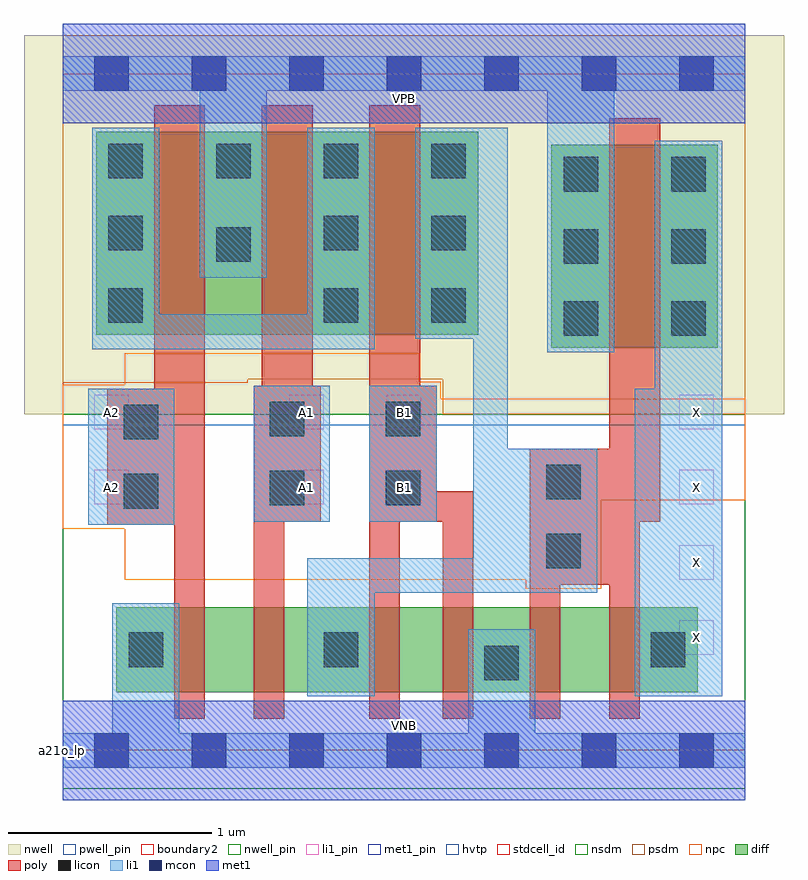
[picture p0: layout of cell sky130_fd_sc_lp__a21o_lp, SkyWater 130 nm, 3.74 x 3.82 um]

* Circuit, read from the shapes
.subckt sky130_fd_sc_lp__a21o_lp A1 A2 B1 VGND VNB VPB VPWR X
XM1 n1 A2 VGND VNB sky130_fd_pr__nfet_01v8 w=0.42 l=0.15
XM2 n2 A1 n1 VNB sky130_fd_pr__nfet_01v8 w=0.42 l=0.15
XM3 n3 B1 n2 VNB sky130_fd_pr__nfet_01v8 w=0.42 l=0.15
XM4 VGND B1 n3 VNB sky130_fd_pr__nfet_01v8 w=0.42 l=0.15
XM5 n4 n2 VGND VNB sky130_fd_pr__nfet_01v8 w=0.42 l=0.15
XM6 X n2 n4 VNB sky130_fd_pr__nfet_01v8 w=0.42 l=0.15
XM7 VPWR A2 n5 VPB sky130_fd_pr__pfet_01v8_hvt w=1 l=0.25
XM8 n5 A1 VPWR VPB sky130_fd_pr__pfet_01v8_hvt w=1 l=0.25
XM9 n2 B1 n5 VPB sky130_fd_pr__pfet_01v8_hvt w=1 l=0.25
XM10 X n2 VPWR VPB sky130_fd_pr__pfet_01v8_hvt w=1 l=0.25
.ends

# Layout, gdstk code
import gdstk
lib = gdstk.Library(unit=1e-6, precision=1e-09)
def R(c, l, rs):  # rectangles x0, y0, x1, y1
    for r in rs: c.add(gdstk.rectangle(r[:2], r[2:], *l))
def A(c, l, x, y, w, h, nx, ny, dx, dy):  # array of equal rectangles
    R(c, l, [(x+i*dx, y+j*dy, x+i*dx+w, y+j*dy+h) for i in range(nx) for j in range(ny)])
def P(c, l, *ps):  # polygons
    for p in ps: c.add(gdstk.Polygon(p, *l))
nwell_pin = (64, 16)
nwell = (64, 20)
diff = (65, 20)
poly = (66, 20)
licon = (66, 44)
li1_pin = (67, 16)
li1 = (67, 20)
mcon = (67, 44)
met1_pin = (68, 16)
met1 = (68, 20)
hvtp = (78, 44)
stdcell_id = (81, 4)
nsdm = (93, 44)
psdm = (94, 20)
npc = (95, 20)
pwell_pin = (122, 16)
boundary2 = (236, 0)

sky130_fd_sc_lp__a21o_lp = lib.new_cell('sky130_fd_sc_lp__a21o_lp')
R(sky130_fd_sc_lp__a21o_lp, nwell_pin, [(0,3.085,3.36,3.33)])
R(sky130_fd_sc_lp__a21o_lp, nwell, [(-0.19,1.655,3.55,3.52)])
R(sky130_fd_sc_lp__a21o_lp, diff, [(0.265,0.285,3.125,0.705), (2.405,1.98,3.225,2.98), (0.165,2.045,2.045,3.045)])
P(sky130_fd_sc_lp__a21o_lp, poly, [(0.7,3.175),(0.45,3.175),(0.45,1.78),(0.22,1.78),(0.22,1.11),(0.55,1.11),(0.55,0.155),(0.7,0.155)],
  [(1.27,1.795),(1.23,1.795),(1.23,3.175),(0.98,3.175),(0.98,1.795),(0.94,1.795),(0.94,0.155),(1.09,0.155),(1.09,1.125),(1.27,1.125)],
  [(2.02,1.275),(1.84,1.275),(1.84,1.795),(1.76,1.795),(1.76,3.175),(1.51,3.175),(1.51,0.155),(1.66,0.155),(1.66,1.125),(1.87,1.125),(1.87,0.155),(2.02,0.155)],
  [(2.94,3.11),(2.69,3.11),(2.69,1.485),(2.3,1.485),(2.3,0.155),(2.45,0.155),(2.45,0.815),(2.69,0.815),(2.69,0.155),(2.84,0.155),(2.84,1.125),(2.94,1.125)])
A(sky130_fd_sc_lp__a21o_lp, licon, 2.465, 2.04, 0.17, 0.17, 1, 3, 0, 0.355)
A(sky130_fd_sc_lp__a21o_lp, licon, 2.995, 2.04, 0.17, 0.17, 1, 3, 0, 0.355)
A(sky130_fd_sc_lp__a21o_lp, licon, 0.225, 2.815, 0.17, 0.17, 4, 1, 0.53, 0)
R(sky130_fd_sc_lp__a21o_lp, licon, [(2.075,0.345,2.245,0.515), (0.325,0.41,0.495,0.58), (1.285,0.41,1.455,0.58), (2.895,0.41,3.065,0.58), (2.38,0.895,2.55,1.065), (0.3,1.19,0.47,1.36), (1.02,1.205,1.19,1.375), (1.59,1.205,1.76,1.375), (2.38,1.235,2.55,1.405), (0.3,1.53,0.47,1.7), (1.02,1.545,1.19,1.715), (1.59,1.545,1.76,1.715), (0.225,2.105,0.395,2.275), (1.285,2.105,1.455,2.275), (1.815,2.105,1.985,2.275), (0.755,2.405,0.925,2.575), (0.225,2.46,0.395,2.63), (1.285,2.46,1.455,2.63), (1.815,2.46,1.985,2.63)])
A(sky130_fd_sc_lp__a21o_lp, li1_pin, 3.035, 0.47, 0.17, 0.17, 1, 4, 0, 0.37)
R(sky130_fd_sc_lp__a21o_lp, li1_pin, [(0.155,1.21,0.325,1.38), (1.115,1.21,1.285,1.38), (1.595,1.21,1.765,1.38), (0.155,1.58,0.325,1.75), (1.115,1.58,1.285,1.75), (1.595,1.58,1.765,1.75)])
R(sky130_fd_sc_lp__a21o_lp, li1, [(0.125,1.11,0.55,1.78), (0.94,1.125,1.315,1.795), (1.51,1.125,1.84,1.795)])
P(sky130_fd_sc_lp__a21o_lp, li1, [(2.385,1.96),(2.385,3.245),(1.005,3.245),(1.005,2.325),(0.675,2.325),(0.675,3.245),(0,3.245),(0,3.415),(3.36,3.415),(3.36,3.245),(2.715,3.245),(2.715,1.96)],
  [(0.245,0.085),(0.245,0.725),(0.575,0.725),(0.575,0.085),(1.995,0.085),(1.995,0.595),(2.325,0.595),(2.325,0.085),(3.36,0.085),(3.36,-0.085),(0,-0.085),(0,0.085)],
  [(1.205,0.945),(2.02,0.945),(2.02,2.025),(1.735,2.025),(1.735,3.065),(2.19,3.065),(2.19,1.485),(2.63,1.485),(2.63,0.775),(1.535,0.775),(1.535,0.265),(1.205,0.265)],
  [(1.205,2.145),(1.205,3.065),(1.535,3.065),(1.535,1.975),(0.145,1.975),(0.145,3.065),(0.475,3.065),(0.475,2.145)],
  [(2.915,1.78),(2.915,3),(3.245,3),(3.245,0.265),(2.815,0.265),(2.815,1.78)])
A(sky130_fd_sc_lp__a21o_lp, mcon, 0.155, -0.085, 0.17, 0.17, 7, 2, 0.48, 3.33)
R(sky130_fd_sc_lp__a21o_lp, met1_pin, [(0,0,3.36,0.245), (0,3.085,3.36,3.33)])
R(sky130_fd_sc_lp__a21o_lp, met1, [(0,-0.245,3.36,0.245), (0,3.085,3.36,3.575)])
R(sky130_fd_sc_lp__a21o_lp, hvtp, [(0,1.6,3.36,3.33)])
R(sky130_fd_sc_lp__a21o_lp, stdcell_id, [(0,0,3.36,3.33)])
R(sky130_fd_sc_lp__a21o_lp, nsdm, [(0,-0.19,3.36,1.655)])
P(sky130_fd_sc_lp__a21o_lp, psdm, [(3.36,3.52),(0,3.52),(0,1.81),(0.91,1.81),(0.91,1.825),(1.87,1.825),(1.87,1.655),(3.36,1.655)])
P(sky130_fd_sc_lp__a21o_lp, npc, [(3.36,1.73),(1.86,1.73),(1.86,1.815),(1.755,1.815),(1.755,1.955),(0.305,1.955),(0.305,1.8),(0,1.8),(0,1.09),(0.305,1.09),(0.305,0.84),(2.28,0.84),(2.28,0.795),(2.65,0.795),(2.65,1.23),(3.36,1.23)])
R(sky130_fd_sc_lp__a21o_lp, pwell_pin, [(0,0,3.36,0.245)])
R(sky130_fd_sc_lp__a21o_lp, boundary2, [(0,0,3.36,3.33)])
sky130_fd_sc_lp__a21o_lp.add(gdstk.Label('VNB', (1.68,0.123), layer=64, texttype=59))
sky130_fd_sc_lp__a21o_lp.add(gdstk.Label('VPB', (1.68,3.208), layer=64, texttype=5))
sky130_fd_sc_lp__a21o_lp.add(gdstk.Label('a21o_lp', (0,0), layer=83, texttype=44))
sky130_fd_sc_lp__a21o_lp.add(gdstk.Label('VPWR', (1.68,3.208), layer=68, texttype=5))
sky130_fd_sc_lp__a21o_lp.add(gdstk.Label('VGND', (1.68,0.123), layer=68, texttype=5))
sky130_fd_sc_lp__a21o_lp.add(gdstk.Label('B1', (1.68,1.295), layer=67, texttype=5))
sky130_fd_sc_lp__a21o_lp.add(gdstk.Label('B1', (1.68,1.665), layer=67, texttype=5))
sky130_fd_sc_lp__a21o_lp.add(gdstk.Label('A2', (0.24,1.295), layer=67, texttype=5))
sky130_fd_sc_lp__a21o_lp.add(gdstk.Label('A2', (0.24,1.665), layer=67, texttype=5))
sky130_fd_sc_lp__a21o_lp.add(gdstk.Label('A1', (1.2,1.295), layer=67, texttype=5))
sky130_fd_sc_lp__a21o_lp.add(gdstk.Label('A1', (1.2,1.665), layer=67, texttype=5))
sky130_fd_sc_lp__a21o_lp.add(gdstk.Label('X', (3.12,0.555), layer=67, texttype=5))
sky130_fd_sc_lp__a21o_lp.add(gdstk.Label('X', (3.12,0.925), layer=67, texttype=5))
sky130_fd_sc_lp__a21o_lp.add(gdstk.Label('X', (3.12,1.295), layer=67, texttype=5))
sky130_fd_sc_lp__a21o_lp.add(gdstk.Label('X', (3.12,1.665), layer=67, texttype=5))

lib.write_gds('sky130_fd_sc_lp__a21o_lp.gds')
